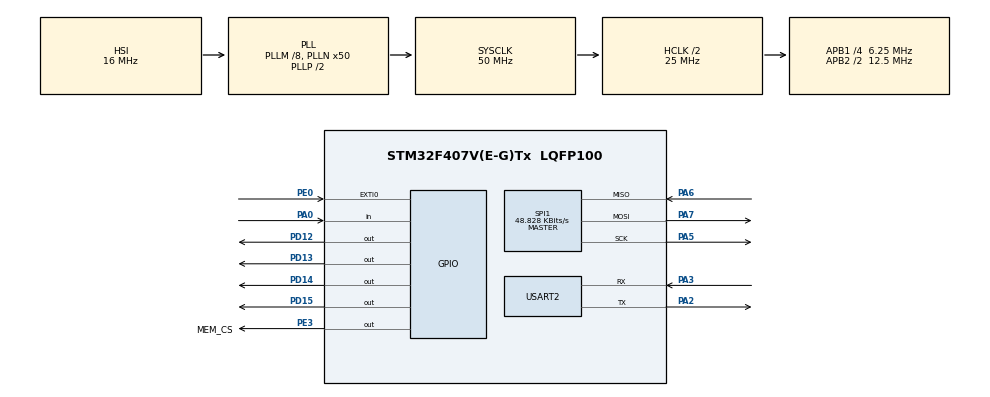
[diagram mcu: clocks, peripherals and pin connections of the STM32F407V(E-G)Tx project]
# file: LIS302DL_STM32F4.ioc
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Dma.Request0=SPI1_RX
Dma.Request1=SPI1_TX
Dma.SPI1_RX.0.Direction=DMA_PERIPH_TO_MEMORY
Dma.SPI1_RX.0.FIFOMode=DMA_FIFOMODE_DISABLE
Dma.SPI1_RX.0.Instance=DMA2_Stream0
Dma.SPI1_RX.0.MemDataAlignment=DMA_MDATAALIGN_BYTE
Dma.SPI1_RX.0.MemInc=DMA_MINC_ENABLE
Dma.SPI1_RX.0.Mode=DMA_NORMAL
Dma.SPI1_RX.0.PeriphDataAlignment=DMA_PDATAALIGN_BYTE
Dma.SPI1_RX.0.PeriphInc=DMA_PINC_DISABLE
Dma.SPI1_RX.0.Priority=DMA_PRIORITY_LOW
Dma.SPI1_TX.1.Direction=DMA_MEMORY_TO_PERIPH
Dma.SPI1_TX.1.FIFOMode=DMA_FIFOMODE_DISABLE
Dma.SPI1_TX.1.Instance=DMA2_Stream3
Dma.SPI1_TX.1.MemDataAlignment=DMA_MDATAALIGN_BYTE
Dma.SPI1_TX.1.MemInc=DMA_MINC_ENABLE
Dma.SPI1_TX.1.Mode=DMA_NORMAL
Dma.SPI1_TX.1.PeriphDataAlignment=DMA_PDATAALIGN_BYTE
Dma.SPI1_TX.1.PeriphInc=DMA_PINC_DISABLE
Dma.SPI1_TX.1.Priority=DMA_PRIORITY_LOW
Mcu.Family=STM32F4
Mcu.Name=STM32F407V(E-G)Tx
Mcu.Package=LQFP100
NVIC.DMA2_Stream0_IRQn=true\:0\:0\:false\:false\:true\:false\:true\:true
NVIC.DMA2_Stream3_IRQn=true\:0\:0\:false\:false\:true\:false\:true\:true
NVIC.EXTI0_IRQn=true\:0\:0\:false\:false\:true\:true\:true\:true
NVIC.PriorityGroup=NVIC_PRIORITYGROUP_0
NVIC.TIM3_IRQn=true\:0\:0\:false\:false\:true\:true\:true\:true
NVIC.USART2_IRQn=true\:0\:0\:false\:false\:true\:true\:true\:true
PA0-WKUP.Signal=GPIO_Input
PA13.Mode=Serial_Wire
PA13.Signal=SYS_JTMS-SWDIO
PA14.Mode=Serial_Wire
PA14.Signal=SYS_JTCK-SWCLK
PA2.Mode=Asynchronous
PA2.Signal=USART2_TX
PA3.Mode=Asynchronous
PA3.Signal=USART2_RX
PA5.Mode=Full_Duplex_Master
PA5.Signal=SPI1_SCK
PA6.Mode=Full_Duplex_Master
PA6.Signal=SPI1_MISO
PA7.Mode=Full_Duplex_Master
PA7.Signal=SPI1_MOSI
PD12.Signal=GPIO_Output
PD13.Signal=GPIO_Output
PD14.Signal=GPIO_Output
PD15.Signal=GPIO_Output
PE0.Signal=GPXTI0
PE3.GPIO_Label=MEM_CS
PE3.Signal=GPIO_Output
PH0-OSC_IN.Mode=HSE-External-Oscillator
PH0-OSC_IN.Signal=RCC_OSC_IN
PH1-OSC_OUT.Mode=HSE-External-Oscillator
PH1-OSC_OUT.Signal=RCC_OSC_OUT
ProjectManager.HeapSize=0x200
ProjectManager.StackSize=0x400
ProjectManager.TargetToolchain=STM32CubeIDE
RCC.48MHZClocksFreq_Value=14285714.285714285
RCC.AHBCLKDivider=RCC_SYSCLK_DIV2
RCC.AHBFreq_Value=25000000
RCC.APB1CLKDivider=RCC_HCLK_DIV4
RCC.APB1Freq_Value=6250000
RCC.APB1TimFreq_Value=12500000
RCC.APB2CLKDivider=RCC_HCLK_DIV2
RCC.APB2Freq_Value=12500000
RCC.APB2TimFreq_Value=25000000
RCC.CortexFreq_Value=25000000
RCC.HCLKFreq_Value=25000000
RCC.HSE_VALUE=8000000
RCC.HSI_VALUE=16000000
RCC.LSE_VALUE=32768
RCC.PLLM=8
RCC.PLLN=50
RCC.PLLQ=7
RCC.SYSCLKFreq_VALUE=50000000
RCC.SYSCLKSource=RCC_SYSCLKSOURCE_PLLCLK
RCC.VCOOutputFreq_Value=100000000
SPI1.BaudRatePrescaler=SPI_BAUDRATEPRESCALER_256
SPI1.CalculateBaudRate=48.828 KBits/s
SPI1.Direction=SPI_DIRECTION_2LINES
SPI1.FirstBit=SPI_FIRSTBIT_MSB
SPI1.Mode=SPI_MODE_MASTER
SPI1.VirtualType=VM_MASTER
TIM3.AutoReloadPreload=TIM_AUTORELOAD_PRELOAD_ENABLE
TIM3.Prescaler=200
USART2.VirtualMode=VM_ASYNC
VP_TIM3_VS_ClockSourceINT.Mode=Internal
board=STM32F407G-DISC1

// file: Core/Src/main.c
/* USER CODE BEGIN Header */
/**
  ******************************************************************************
  * @file           : main.c
  * @brief          : Main program body
  ******************************************************************************
  * @attention
  *
  * Copyright (c) 2024 STMicroelectronics.
  * All rights reserved.
  *
  * This software is licensed under terms that can be found in the LICENSE file
  * in the root directory of this software component.
  * If no LICENSE file comes with this software, it is provided AS-IS.
  *
  ******************************************************************************
  */
/* USER CODE END Header */
#include "main.h"

/* USER CODE BEGIN Includes */
#include "stdio.h"
#include "string.h"
#include "LIS3DSH.h"
/* USER CODE END Includes */

/* USER CODE BEGIN PTD */
int x = 0;
int sleep =1;
int en =0;
/* USER CODE END PTD */

SPI_HandleTypeDef hspi1;
DMA_HandleTypeDef hdma_spi1_rx;
DMA_HandleTypeDef hdma_spi1_tx;

TIM_HandleTypeDef htim3;

UART_HandleTypeDef huart2;

void SystemClock_Config(void);
static void MX_GPIO_Init(void);
static void MX_DMA_Init(void);
static void MX_SPI1_Init(void);
static void MX_USART2_UART_Init(void);
static void MX_TIM3_Init(void);

/* USER CODE BEGIN 0 */
LIS3DSH_InitTypeDef mySensor;
LIS3DSH_DataRaw DataRaw;
/* USER CODE END 0 */

int main(void)
{

  /* MCU Configuration--------------------------------------------------------*/

  /* Reset of all peripherals, Initializes the Flash interface and the Systick. */
  HAL_Init();

  /* Configure the system clock */
  SystemClock_Config();

  /* Initialize all configured peripherals */
  MX_GPIO_Init();
  MX_DMA_Init();
  MX_SPI1_Init();
  MX_USART2_UART_Init();
  MX_TIM3_Init();
  /* USER CODE BEGIN 2 */

  mySensor.SelectAxes = LIS3DSH_Select_XYZ_Axis;
  mySensor.BDU_select = LIS3DSH_BDU_data_continue;
  mySensor.OdrConfig  = LIS3DSH_ODR_1600_HZ;
  mySensor.FullScale  = LIS3DSH_FULLSCALE_16;
  mySensor.bandwidth  = LIS3DSH_BW_400_HZ;

  LIS3DSH_Init(&hspi1,&mySensor);

  /* USER CODE END 2 */

  /* Infinite loop */
  while (1)
  {

    /* USER CODE BEGIN 3 */
		  HAL_Delay(750);
		 // DataRaw = ReadFIFOData(&mySensor,&huart2);
		  DataRaw = LIS3DSH_GetDataRaw();

  }
  /* USER CODE END 3 */
}

void SystemClock_Config(void)
{
  RCC_OscInitTypeDef RCC_OscInitStruct = {0};
  RCC_ClkInitTypeDef RCC_ClkInitStruct = {0};

  /** Configure the main internal regulator output voltage
  */
  __HAL_RCC_PWR_CLK_ENABLE();
  __HAL_PWR_VOLTAGESCALING_CONFIG(PWR_REGULATOR_VOLTAGE_SCALE1);

  /** Initializes the RCC Oscillators according to the specified parameters
  * in the RCC_OscInitTypeDef structure.
  */
  RCC_OscInitStruct.OscillatorType = RCC_OSCILLATORTYPE_HSI;
  RCC_OscInitStruct.HSIState = RCC_HSI_ON;
  RCC_OscInitStruct.HSICalibrationValue = RCC_HSICALIBRATION_DEFAULT;
  RCC_OscInitStruct.PLL.PLLState = RCC_PLL_ON;
  RCC_OscInitStruct.PLL.PLLSource = RCC_PLLSOURCE_HSI;
  RCC_OscInitStruct.PLL.PLLM = 8;
  RCC_OscInitStruct.PLL.PLLN = 50;
  RCC_OscInitStruct.PLL.PLLP = RCC_PLLP_DIV2;
  RCC_OscInitStruct.PLL.PLLQ = 7;
  if (HAL_RCC_OscConfig(&RCC_OscInitStruct) != HAL_OK)
  {
    Error_Handler();
  }

  /** Initializes the CPU, AHB and APB buses clocks
  */
  RCC_ClkInitStruct.ClockType = RCC_CLOCKTYPE_HCLK|RCC_CLOCKTYPE_SYSCLK
                              |RCC_CLOCKTYPE_PCLK1|RCC_CLOCKTYPE_PCLK2;
  RCC_ClkInitStruct.SYSCLKSource = RCC_SYSCLKSOURCE_PLLCLK;
  RCC_ClkInitStruct.AHBCLKDivider = RCC_SYSCLK_DIV2;
  RCC_ClkInitStruct.APB1CLKDivider = RCC_HCLK_DIV4;
  RCC_ClkInitStruct.APB2CLKDivider = RCC_HCLK_DIV2;

  if (HAL_RCC_ClockConfig(&RCC_ClkInitStruct, FLASH_LATENCY_0) != HAL_OK)
  {
    Error_Handler();
  }
}

static void MX_SPI1_Init(void)
{

  /* SPI1 parameter configuration*/
  hspi1.Instance = SPI1;
  hspi1.Init.Mode = SPI_MODE_MASTER;
  hspi1.Init.Direction = SPI_DIRECTION_2LINES;
  hspi1.Init.DataSize = SPI_DATASIZE_8BIT;
  hspi1.Init.CLKPolarity = SPI_POLARITY_LOW;
  hspi1.Init.CLKPhase = SPI_PHASE_1EDGE;
  hspi1.Init.NSS = SPI_NSS_SOFT;
  hspi1.Init.BaudRatePrescaler = SPI_BAUDRATEPRESCALER_256;
  hspi1.Init.FirstBit = SPI_FIRSTBIT_MSB;
  hspi1.Init.TIMode = SPI_TIMODE_DISABLE;
  hspi1.Init.CRCCalculation = SPI_CRCCALCULATION_DISABLE;
  hspi1.Init.CRCPolynomial = 10;
  if (HAL_SPI_Init(&hspi1) != HAL_OK)
  {
    Error_Handler();
  }

}

static void MX_TIM3_Init(void)
{

  TIM_ClockConfigTypeDef sClockSourceConfig = {0};
  TIM_MasterConfigTypeDef sMasterConfig = {0};

  htim3.Instance = TIM3;
  htim3.Init.Prescaler = 200;
  htim3.Init.CounterMode = TIM_COUNTERMODE_UP;
  htim3.Init.Period = 65535;
  htim3.Init.ClockDivision = TIM_CLOCKDIVISION_DIV1;
  htim3.Init.AutoReloadPreload = TIM_AUTORELOAD_PRELOAD_ENABLE;
  if (HAL_TIM_Base_Init(&htim3) != HAL_OK)
  {
    Error_Handler();
  }
  sClockSourceConfig.ClockSource = TIM_CLOCKSOURCE_INTERNAL;
  if (HAL_TIM_ConfigClockSource(&htim3, &sClockSourceConfig) != HAL_OK)
  {
    Error_Handler();
  }
  sMasterConfig.MasterOutputTrigger = TIM_TRGO_RESET;
  sMasterConfig.MasterSlaveMode = TIM_MASTERSLAVEMODE_DISABLE;
  if (HAL_TIMEx_MasterConfigSynchronization(&htim3, &sMasterConfig) != HAL_OK)
  {
    Error_Handler();
  }

}

static void MX_USART2_UART_Init(void)
{

  huart2.Instance = USART2;
  huart2.Init.BaudRate = 115200;
  huart2.Init.WordLength = UART_WORDLENGTH_8B;
  huart2.Init.StopBits = UART_STOPBITS_1;
  huart2.Init.Parity = UART_PARITY_NONE;
  huart2.Init.Mode = UART_MODE_TX_RX;
  huart2.Init.HwFlowCtl = UART_HWCONTROL_NONE;
  huart2.Init.OverSampling = UART_OVERSAMPLING_16;
  if (HAL_UART_Init(&huart2) != HAL_OK)
  {
    Error_Handler();
  }

}

static void MX_DMA_Init(void)
{

  /* DMA controller clock enable */
  __HAL_RCC_DMA2_CLK_ENABLE();

  /* DMA interrupt init */
  /* DMA2_Stream0_IRQn interrupt configuration */
  HAL_NVIC_SetPriority(DMA2_Stream0_IRQn, 0, 0);
  HAL_NVIC_EnableIRQ(DMA2_Stream0_IRQn);
  /* DMA2_Stream3_IRQn interrupt configuration */
  HAL_NVIC_SetPriority(DMA2_Stream3_IRQn, 0, 0);
  HAL_NVIC_EnableIRQ(DMA2_Stream3_IRQn);

}

static void MX_GPIO_Init(void)
{
  GPIO_InitTypeDef GPIO_InitStruct = {0};

  /* GPIO Ports Clock Enable */
  __HAL_RCC_GPIOE_CLK_ENABLE();
  __HAL_RCC_GPIOH_CLK_ENABLE();
  __HAL_RCC_GPIOA_CLK_ENABLE();
  __HAL_RCC_GPIOD_CLK_ENABLE();

  /*Configure GPIO pin Output Level */
  HAL_GPIO_WritePin(MEM_CS_GPIO_Port, MEM_CS_Pin, GPIO_PIN_RESET);

  /*Configure GPIO pin Output Level */
  HAL_GPIO_WritePin(GPIOD, GPIO_PIN_12|GPIO_PIN_13|GPIO_PIN_14|GPIO_PIN_15, GPIO_PIN_RESET);

  /*Configure GPIO pin : MEM_CS_Pin */
  GPIO_InitStruct.Pin = MEM_CS_Pin;
  GPIO_InitStruct.Mode = GPIO_MODE_OUTPUT_PP;
  GPIO_InitStruct.Pull = GPIO_NOPULL;
  GPIO_InitStruct.Speed = GPIO_SPEED_FREQ_LOW;
  HAL_GPIO_Init(MEM_CS_GPIO_Port, &GPIO_InitStruct);

  /*Configure GPIO pin : PA0 */
  GPIO_InitStruct.Pin = GPIO_PIN_0;
  GPIO_InitStruct.Mode = GPIO_MODE_INPUT;
  GPIO_InitStruct.Pull = GPIO_NOPULL;
  HAL_GPIO_Init(GPIOA, &GPIO_InitStruct);

  /*Configure GPIO pins : PD12 PD13 PD14 PD15 */
  GPIO_InitStruct.Pin = GPIO_PIN_12|GPIO_PIN_13|GPIO_PIN_14|GPIO_PIN_15;
  GPIO_InitStruct.Mode = GPIO_MODE_OUTPUT_PP;
  GPIO_InitStruct.Pull = GPIO_NOPULL;
  GPIO_InitStruct.Speed = GPIO_SPEED_FREQ_LOW;
  HAL_GPIO_Init(GPIOD, &GPIO_InitStruct);

  /*Configure GPIO pin : PE0 */
  GPIO_InitStruct.Pin = GPIO_PIN_0;
  GPIO_InitStruct.Mode = GPIO_MODE_IT_RISING;
  GPIO_InitStruct.Pull = GPIO_NOPULL;
  HAL_GPIO_Init(GPIOE, &GPIO_InitStruct);

  /* EXTI interrupt init*/
  HAL_NVIC_SetPriority(EXTI0_IRQn, 0, 0);
  HAL_NVIC_EnableIRQ(EXTI0_IRQn);

}

/* USER CODE BEGIN 4 */
void HAL_TIM_PeriodElapsedCallback(TIM_HandleTypeDef *htim)
{

    if(htim->Instance == TIM3)
    {
        HAL_GPIO_TogglePin(GPIOD, GPIO_PIN_13);
        if(0 == sleep)
        	sleep = 1;
        if(10 == en)
        {
        	sleep = 0;
        	en=0;
        }
        en++;
    }
}
/* USER CODE END 4 */

void Error_Handler(void)
{
  __disable_irq();
  while (1)
  {
  }
}
